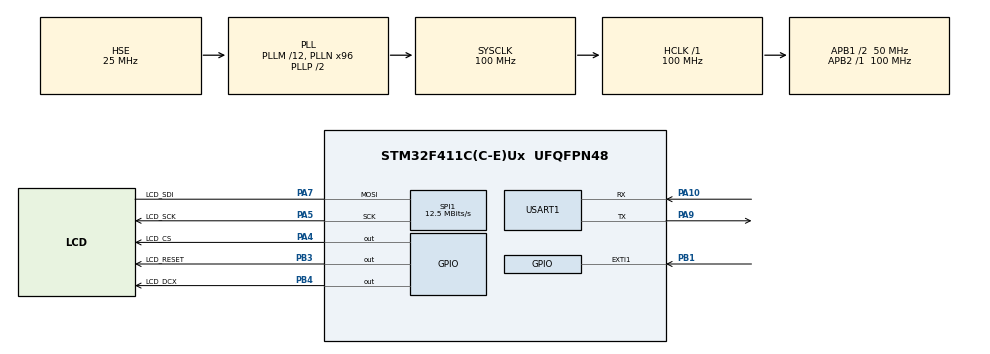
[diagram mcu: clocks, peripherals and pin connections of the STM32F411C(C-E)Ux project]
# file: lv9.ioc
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Dma.Request0=SPI1_TX
Dma.SPI1_TX.0.Direction=DMA_MEMORY_TO_PERIPH
Dma.SPI1_TX.0.FIFOMode=DMA_FIFOMODE_DISABLE
Dma.SPI1_TX.0.Instance=DMA2_Stream2
Dma.SPI1_TX.0.MemDataAlignment=DMA_MDATAALIGN_HALFWORD
Dma.SPI1_TX.0.MemInc=DMA_MINC_ENABLE
Dma.SPI1_TX.0.Mode=DMA_NORMAL
Dma.SPI1_TX.0.PeriphDataAlignment=DMA_PDATAALIGN_HALFWORD
Dma.SPI1_TX.0.PeriphInc=DMA_PINC_DISABLE
Dma.SPI1_TX.0.Priority=DMA_PRIORITY_MEDIUM
FREERTOS.Tasks01=defaultTask,0,128,StartDefaultTask,Default,NULL,Dynamic,NULL,NULL
FREERTOS.configUSE_NEWLIB_REENTRANT=1
Mcu.Family=STM32F4
Mcu.Name=STM32F411C(C-E)Ux
Mcu.Package=UFQFPN48
NVIC.DMA2_Stream2_IRQn=true\:5\:0\:false\:false\:true\:true\:false\:true\:true
NVIC.EXTI1_IRQn=true\:5\:0\:false\:false\:true\:true\:true\:true\:true
NVIC.PriorityGroup=NVIC_PRIORITYGROUP_4
NVIC.TIM2_IRQn=true\:15\:0\:false\:false\:true\:false\:false\:true\:true
NVIC.TimeBase=TIM2_IRQn
NVIC.TimeBaseIP=TIM2
PA10.Mode=Asynchronous
PA10.Signal=USART1_RX
PA13.Mode=Serial_Wire
PA13.Signal=SYS_JTMS-SWDIO
PA14.Mode=Serial_Wire
PA14.Signal=SYS_JTCK-SWCLK
PA4.GPIO_Label=LCD_CS
PA4.GPIO_Speed=GPIO_SPEED_FREQ_VERY_HIGH
PA4.Signal=GPIO_Output
PA5.GPIO_Label=LCD_SCK
PA5.GPIO_PuPd=GPIO_PULLDOWN
PA5.Mode=Simplex_Bidirectional_Master
PA5.Signal=SPI1_SCK
PA7.GPIO_Label=LCD_SDI
PA7.GPIO_PuPd=GPIO_PULLUP
PA7.Mode=Simplex_Bidirectional_Master
PA7.Signal=SPI1_MOSI
PA9.Mode=Asynchronous
PA9.Signal=USART1_TX
PB1.Signal=GPXTI1
PB3.GPIO_Label=LCD_RESET
PB3.GPIO_PuPd=GPIO_PULLUP
PB3.GPIO_Speed=GPIO_SPEED_FREQ_VERY_HIGH
PB3.PinState=GPIO_PIN_SET
PB3.Signal=GPIO_Output
PB4.GPIO_Label=LCD_DCX
PB4.GPIO_Speed=GPIO_SPEED_FREQ_VERY_HIGH
PB4.PinState=GPIO_PIN_SET
PB4.Signal=GPIO_Output
PC14-OSC32_IN.Mode=LSE-External-Oscillator
PC14-OSC32_IN.Signal=RCC_OSC32_IN
PC15-OSC32_OUT.Mode=LSE-External-Oscillator
PC15-OSC32_OUT.Signal=RCC_OSC32_OUT
PH0\ -\ OSC_IN.Mode=HSE-External-Oscillator
PH0\ -\ OSC_IN.Signal=RCC_OSC_IN
PH1\ -\ OSC_OUT.Mode=HSE-External-Oscillator
PH1\ -\ OSC_OUT.Signal=RCC_OSC_OUT
ProjectManager.HeapSize=0x200
ProjectManager.StackSize=0x400
ProjectManager.TargetToolchain=STM32CubeIDE
RCC.48MHZClocksFreq_Value=50000000
RCC.AHBFreq_Value=100000000
RCC.APB1CLKDivider=RCC_HCLK_DIV2
RCC.APB1Freq_Value=50000000
RCC.APB1TimFreq_Value=100000000
RCC.APB2Freq_Value=100000000
RCC.APB2TimFreq_Value=100000000
RCC.CortexFreq_Value=100000000
RCC.HCLKFreq_Value=100000000
RCC.HSE_VALUE=25000000
RCC.HSI_VALUE=16000000
RCC.PLLM=12
RCC.PLLN=96
RCC.PLLSourceVirtual=RCC_PLLSOURCE_HSE
RCC.SYSCLKFreq_VALUE=100000000
RCC.SYSCLKSource=RCC_SYSCLKSOURCE_PLLCLK
RCC.VCOOutputFreq_Value=200000000
SPI1.BaudRatePrescaler=SPI_BAUDRATEPRESCALER_8
SPI1.CalculateBaudRate=12.5 MBits/s
SPI1.Direction=SPI_DIRECTION_1LINE
SPI1.Mode=SPI_MODE_MASTER
SPI1.VirtualType=VM_MASTER
USART1.VirtualMode=VM_ASYNC
VP_FREERTOS_VS_CMSIS_V1.Mode=CMSIS_V1
VP_SYS_VS_tim2.Mode=TIM2
board=custom

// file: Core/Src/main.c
/* USER CODE BEGIN Header */
/**
  ******************************************************************************
  * @file           : main.c
  * @brief          : Main program body
  ******************************************************************************
  * @attention
  *
  * Copyright (c) 2024 STMicroelectronics.
  * All rights reserved.
  *
  * This software is licensed under terms that can be found in the LICENSE file
  * in the root directory of this software component.
  * If no LICENSE file comes with this software, it is provided AS-IS.
  *
  ******************************************************************************
  */
/* USER CODE END Header */
#include "main.h"
#include "cmsis_os.h"

/* USER CODE BEGIN Includes */
#include "lvgl.h"
#include "./src/drivers/display/st7735/lv_st7735.h"
#include <stdio.h>
/* USER CODE END Includes */

/* USER CODE BEGIN PD */
#define LCD_H_RES       128
#define LCD_V_RES       128
#define BUS_SPI1_POLL_TIMEOUT 0x1000U
/* USER CODE END PD */

SPI_HandleTypeDef hspi1;
DMA_HandleTypeDef hdma_spi1_tx;

UART_HandleTypeDef huart1;

osThreadId defaultTaskHandle;
/* USER CODE BEGIN PV */
osThreadId LvglTaskHandle;
lv_display_t *lcd_disp;
volatile int lcd_bus_busy = 0;
/* USER CODE END PV */

void SystemClock_Config(void);
static void MX_GPIO_Init(void);
static void MX_DMA_Init(void);
static void MX_SPI1_Init(void);
static void MX_USART1_UART_Init(void);
void StartDefaultTask(void const * argument);

/* USER CODE BEGIN PFP */
void ui_init(lv_display_t *disp);
void LVGL_Task(void const *argument);
/* USER CODE END PFP */

/* USER CODE BEGIN 0 */
int _write(int file, char *ptr, int len) {
    HAL_UART_Transmit(&huart1, (uint8_t*) ptr, len, HAL_MAX_DELAY);
    return len;
}
/* USER CODE END 0 */

int main(void)
{

  /* MCU Configuration--------------------------------------------------------*/

  /* Reset of all peripherals, Initializes the Flash interface and the Systick. */
  HAL_Init();

  /* Configure the system clock */
  SystemClock_Config();

  /* Initialize all configured peripherals */
  MX_GPIO_Init();
  MX_DMA_Init();
  MX_SPI1_Init();
  MX_USART1_UART_Init();

  /* Create the thread(s) */
  /* definition and creation of defaultTask */
  osThreadDef(defaultTask, StartDefaultTask, osPriorityNormal, 0, 128);
  defaultTaskHandle = osThreadCreate(osThread(defaultTask), NULL);

  /* USER CODE BEGIN RTOS_THREADS */
  /* add threads, ... */
  osThreadDef(LvglTask, LVGL_Task, osPriorityIdle, 0, 1024);
  LvglTaskHandle = osThreadCreate(osThread(LvglTask), NULL);
  /* USER CODE END RTOS_THREADS */

  /* Start scheduler */
  osKernelStart();

  /* We should never get here as control is now taken by the scheduler */

  /* Infinite loop */
  while (1)
  {

  }
}

void SystemClock_Config(void)
{
  RCC_OscInitTypeDef RCC_OscInitStruct = {0};
  RCC_ClkInitTypeDef RCC_ClkInitStruct = {0};

  /** Configure the main internal regulator output voltage
  */
  __HAL_RCC_PWR_CLK_ENABLE();
  __HAL_PWR_VOLTAGESCALING_CONFIG(PWR_REGULATOR_VOLTAGE_SCALE1);

  /** Initializes the RCC Oscillators according to the specified parameters
  * in the RCC_OscInitTypeDef structure.
  */
  RCC_OscInitStruct.OscillatorType = RCC_OSCILLATORTYPE_HSE;
  RCC_OscInitStruct.HSEState = RCC_HSE_ON;
  RCC_OscInitStruct.PLL.PLLState = RCC_PLL_ON;
  RCC_OscInitStruct.PLL.PLLSource = RCC_PLLSOURCE_HSE;
  RCC_OscInitStruct.PLL.PLLM = 12;
  RCC_OscInitStruct.PLL.PLLN = 96;
  RCC_OscInitStruct.PLL.PLLP = RCC_PLLP_DIV2;
  RCC_OscInitStruct.PLL.PLLQ = 4;
  if (HAL_RCC_OscConfig(&RCC_OscInitStruct) != HAL_OK)
  {
    Error_Handler();
  }

  /** Initializes the CPU, AHB and APB buses clocks
  */
  RCC_ClkInitStruct.ClockType = RCC_CLOCKTYPE_HCLK|RCC_CLOCKTYPE_SYSCLK
                              |RCC_CLOCKTYPE_PCLK1|RCC_CLOCKTYPE_PCLK2;
  RCC_ClkInitStruct.SYSCLKSource = RCC_SYSCLKSOURCE_PLLCLK;
  RCC_ClkInitStruct.AHBCLKDivider = RCC_SYSCLK_DIV1;
  RCC_ClkInitStruct.APB1CLKDivider = RCC_HCLK_DIV2;
  RCC_ClkInitStruct.APB2CLKDivider = RCC_HCLK_DIV1;

  if (HAL_RCC_ClockConfig(&RCC_ClkInitStruct, FLASH_LATENCY_3) != HAL_OK)
  {
    Error_Handler();
  }
}

static void MX_SPI1_Init(void)
{

  /* SPI1 parameter configuration*/
  hspi1.Instance = SPI1;
  hspi1.Init.Mode = SPI_MODE_MASTER;
  hspi1.Init.Direction = SPI_DIRECTION_1LINE;
  hspi1.Init.DataSize = SPI_DATASIZE_8BIT;
  hspi1.Init.CLKPolarity = SPI_POLARITY_LOW;
  hspi1.Init.CLKPhase = SPI_PHASE_1EDGE;
  hspi1.Init.NSS = SPI_NSS_SOFT;
  hspi1.Init.BaudRatePrescaler = SPI_BAUDRATEPRESCALER_8;
  hspi1.Init.FirstBit = SPI_FIRSTBIT_MSB;
  hspi1.Init.TIMode = SPI_TIMODE_DISABLE;
  hspi1.Init.CRCCalculation = SPI_CRCCALCULATION_DISABLE;
  hspi1.Init.CRCPolynomial = 10;
  if (HAL_SPI_Init(&hspi1) != HAL_OK)
  {
    Error_Handler();
  }

}

static void MX_USART1_UART_Init(void)
{

  huart1.Instance = USART1;
  huart1.Init.BaudRate = 115200;
  huart1.Init.WordLength = UART_WORDLENGTH_8B;
  huart1.Init.StopBits = UART_STOPBITS_1;
  huart1.Init.Parity = UART_PARITY_NONE;
  huart1.Init.Mode = UART_MODE_TX_RX;
  huart1.Init.HwFlowCtl = UART_HWCONTROL_NONE;
  huart1.Init.OverSampling = UART_OVERSAMPLING_16;
  if (HAL_UART_Init(&huart1) != HAL_OK)
  {
    Error_Handler();
  }

}

static void MX_DMA_Init(void)
{

  /* DMA controller clock enable */
  __HAL_RCC_DMA2_CLK_ENABLE();

  /* DMA interrupt init */
  /* DMA2_Stream2_IRQn interrupt configuration */
  HAL_NVIC_SetPriority(DMA2_Stream2_IRQn, 5, 0);
  HAL_NVIC_EnableIRQ(DMA2_Stream2_IRQn);

}

static void MX_GPIO_Init(void)
{
  GPIO_InitTypeDef GPIO_InitStruct = {0};

  /* GPIO Ports Clock Enable */
  __HAL_RCC_GPIOC_CLK_ENABLE();
  __HAL_RCC_GPIOH_CLK_ENABLE();
  __HAL_RCC_GPIOA_CLK_ENABLE();
  __HAL_RCC_GPIOB_CLK_ENABLE();

  /*Configure GPIO pin Output Level */
  HAL_GPIO_WritePin(LCD_CS_GPIO_Port, LCD_CS_Pin, GPIO_PIN_RESET);

  /*Configure GPIO pin Output Level */
  HAL_GPIO_WritePin(GPIOB, LCD_RESET_Pin|LCD_DCX_Pin, GPIO_PIN_SET);

  /*Configure GPIO pin : LCD_CS_Pin */
  GPIO_InitStruct.Pin = LCD_CS_Pin;
  GPIO_InitStruct.Mode = GPIO_MODE_OUTPUT_PP;
  GPIO_InitStruct.Pull = GPIO_NOPULL;
  GPIO_InitStruct.Speed = GPIO_SPEED_FREQ_VERY_HIGH;
  HAL_GPIO_Init(LCD_CS_GPIO_Port, &GPIO_InitStruct);

  /*Configure GPIO pin : PB1 */
  GPIO_InitStruct.Pin = GPIO_PIN_1;
  GPIO_InitStruct.Mode = GPIO_MODE_IT_RISING;
  GPIO_InitStruct.Pull = GPIO_NOPULL;
  HAL_GPIO_Init(GPIOB, &GPIO_InitStruct);

  /*Configure GPIO pin : LCD_RESET_Pin */
  GPIO_InitStruct.Pin = LCD_RESET_Pin;
  GPIO_InitStruct.Mode = GPIO_MODE_OUTPUT_PP;
  GPIO_InitStruct.Pull = GPIO_PULLUP;
  GPIO_InitStruct.Speed = GPIO_SPEED_FREQ_VERY_HIGH;
  HAL_GPIO_Init(LCD_RESET_GPIO_Port, &GPIO_InitStruct);

  /*Configure GPIO pin : LCD_DCX_Pin */
  GPIO_InitStruct.Pin = LCD_DCX_Pin;
  GPIO_InitStruct.Mode = GPIO_MODE_OUTPUT_PP;
  GPIO_InitStruct.Pull = GPIO_NOPULL;
  GPIO_InitStruct.Speed = GPIO_SPEED_FREQ_VERY_HIGH;
  HAL_GPIO_Init(LCD_DCX_GPIO_Port, &GPIO_InitStruct);

  /* EXTI interrupt init*/
  HAL_NVIC_SetPriority(EXTI1_IRQn, 5, 0);
  HAL_NVIC_EnableIRQ(EXTI1_IRQn);

}

/* USER CODE BEGIN 4 */
void lcd_color_transfer_ready_cb(SPI_HandleTypeDef *hspi)
{
        /* CS high */
        HAL_GPIO_WritePin(LCD_CS_GPIO_Port, LCD_CS_Pin, GPIO_PIN_SET);
        lcd_bus_busy = 0;
        lv_display_flush_ready(lcd_disp);
}

/* Initialize LCD I/O bus, reset LCD */
static int32_t lcd_io_init(void)
{
        /* Register SPI Tx Complete Callback */
        HAL_SPI_RegisterCallback(&hspi1, HAL_SPI_TX_COMPLETE_CB_ID, lcd_color_transfer_ready_cb);

        /* reset LCD */
        HAL_GPIO_WritePin(LCD_RESET_GPIO_Port, LCD_RESET_Pin, GPIO_PIN_RESET);
        HAL_Delay(100);
        HAL_GPIO_WritePin(LCD_RESET_GPIO_Port, LCD_RESET_Pin, GPIO_PIN_SET);
        HAL_Delay(100);

        HAL_GPIO_WritePin(LCD_CS_GPIO_Port, LCD_CS_Pin, GPIO_PIN_SET);
        HAL_GPIO_WritePin(LCD_DCX_GPIO_Port, LCD_DCX_Pin, GPIO_PIN_SET);

        return HAL_OK;
}

/* Platform-specific implementation of the LCD send command function. In general this should use polling transfer. */
static void lcd_send_cmd(lv_display_t *disp, const uint8_t *cmd, size_t cmd_size, const uint8_t *param, size_t param_size)
{
        LV_UNUSED(disp);
        while (lcd_bus_busy);   /* wait until previous transfer is finished */
        /* Set the SPI in 8-bit mode */
        hspi1.Init.DataSize = SPI_DATASIZE_8BIT;
        HAL_SPI_Init(&hspi1);
        /* DCX low (command) */
        HAL_GPIO_WritePin(LCD_DCX_GPIO_Port, LCD_DCX_Pin, GPIO_PIN_RESET);
        /* CS low */
        HAL_GPIO_WritePin(LCD_CS_GPIO_Port, LCD_CS_Pin, GPIO_PIN_RESET);
        /* send command */
        if (HAL_SPI_Transmit(&hspi1, cmd, cmd_size, BUS_SPI1_POLL_TIMEOUT) == HAL_OK) {
                /* DCX high (data) */
                HAL_GPIO_WritePin(LCD_DCX_GPIO_Port, LCD_DCX_Pin, GPIO_PIN_SET);
                /* for short data blocks we use polling transfer */
                HAL_SPI_Transmit(&hspi1, (uint8_t *)param, (uint16_t)param_size, BUS_SPI1_POLL_TIMEOUT);
                /* CS high */
                HAL_GPIO_WritePin(LCD_CS_GPIO_Port, LCD_CS_Pin, GPIO_PIN_SET);
        }
}

/* Platform-specific implementation of the LCD send color function. For better performance this should use DMA transfer.
 * In case of a DMA transfer a callback must be installed to notify LVGL about the end of the transfer.
 */
static void lcd_send_color(lv_display_t *disp, const uint8_t *cmd, size_t cmd_size, uint8_t *param, size_t param_size)
{
        LV_UNUSED(disp);
        while (lcd_bus_busy);   /* wait until previous transfer is finished */
        /* Set the SPI in 8-bit mode */
        hspi1.Init.DataSize = SPI_DATASIZE_8BIT;
        HAL_SPI_Init(&hspi1);
        /* DCX low (command) */
        HAL_GPIO_WritePin(LCD_DCX_GPIO_Port, LCD_DCX_Pin, GPIO_PIN_RESET);
        /* CS low */
        HAL_GPIO_WritePin(LCD_CS_GPIO_Port, LCD_CS_Pin, GPIO_PIN_RESET);
        /* send command */
        if (HAL_SPI_Transmit(&hspi1, cmd, cmd_size, BUS_SPI1_POLL_TIMEOUT) == HAL_OK) {
                /* DCX high (data) */
                HAL_GPIO_WritePin(LCD_DCX_GPIO_Port, LCD_DCX_Pin, GPIO_PIN_SET);
                /* for color data use DMA transfer */
                /* Set the SPI in 16-bit mode to match endianness */
                hspi1.Init.DataSize = SPI_DATASIZE_16BIT;
                HAL_SPI_Init(&hspi1);
                lcd_bus_busy = 1;
                HAL_SPI_Transmit_DMA(&hspi1, param, (uint16_t)param_size / 2);
                /* NOTE: CS will be reset in the transfer ready callback */
        }
}

void LVGL_Task(void const *argument)
{
        /* Initialize LVGL */
        lv_init();

        /* Initialize LCD I/O */
        if (lcd_io_init() != 0)
                return;

        /* Create the LVGL display object and the LCD display driver */
        lcd_disp = lv_st7735_create(LCD_H_RES, LCD_V_RES, LV_LCD_FLAG_NONE, lcd_send_cmd, lcd_send_color);
        lv_display_set_rotation(lcd_disp, LV_DISPLAY_ROTATION_0);
        lv_display_set_offset(lcd_disp, 2, 3);

        /* Allocate draw buffers on the heap. In this example we use two partial buffers of 1/10th size of the screen */
        lv_color_t * buf1 = NULL;
        lv_color_t * buf2 = NULL;

        uint32_t buf_size = LCD_H_RES * LCD_V_RES / 10 * lv_color_format_get_size(lv_display_get_color_format(lcd_disp));

        buf1 = lv_malloc(buf_size);
        if(buf1 == NULL) {
                LV_LOG_ERROR("display draw buffer malloc failed");
                return;
        }

        buf2 = lv_malloc(buf_size);
        if(buf2 == NULL) {
                LV_LOG_ERROR("display buffer malloc failed");
                lv_free(buf1);
                return;
        }
        lv_display_set_buffers(lcd_disp, buf1, buf2, buf_size, LV_DISPLAY_RENDER_MODE_PARTIAL);

        ui_init(lcd_disp);

        for(;;) {
                /* The task running lv_timer_handler should have lower priority than that running `lv_tick_inc` */
                lv_timer_handler();
                /* raise the task priority of LVGL and/or reduce the handler period can improve the performance */
                osDelay(10);
        }
}
// Define the coordinates that the buttons will interact with
static const lv_point_t btn_points[] = { {64, 5}, {70, 90} };
void button_read(lv_indev_t *indev, lv_indev_data_t *data);

// Screen objects
lv_obj_t *screen1;
lv_obj_t *screen2;
lv_obj_t *screen3;
lv_obj_t *screen4;
lv_obj_t *btn;

lv_obj_t *screens[4]; // Array of screen pointers

// Simulate reading a button press
void input_device_init(void) {
    lv_indev_t *indev = lv_indev_create();
    lv_indev_set_type(indev, LV_INDEV_TYPE_BUTTON);
    lv_indev_set_read_cb(indev, button_read);
}

uint8_t flag = 0;
// Simulate reading a button press
int my_btn_read(void) {
    // Implement your button reading logic here
    // Return the button ID (0, 1, 2, ...) if pressed, or -1 if no button is pressed
    if (flag == 1) {
    	flag = 0;
    	return 0;
    } // Button 0 is pressed
    //if (HAL_GPIO_ReadPin(GPIOA, GPIO_PIN_1) == GPIO_PIN_SET) return 1; // Button 1 is pressed
    return -1; // No button is pressed
}

// Function to switch screens
void switch_screen(lv_obj_t *new_screen) {
    lv_screen_load(new_screen);
}

uint8_t i = 0;
// Read the button state
void button_read(lv_indev_t *indev, lv_indev_data_t *data) {
    static uint32_t last_btn = 0;   // Store the last pressed button
    int btn_pr = my_btn_read();     // Get the ID of the pressed button

    if (btn_pr >= 0) {              // Check if a button is pressed
        last_btn = btn_pr;          // Save the ID of the pressed button
        data->state = LV_INDEV_STATE_PRESSED;
        printf("Button %d is pressed\r\n", last_btn);

        // Switch screens based on button press
        if (last_btn == 0) {
            // Load the next screen in the array
            switch_screen(screens[i]);
            i = (i + 1) % 4; // Update the index, loop back to 0 after 3
        }
    } else {
        data->state = LV_INDEV_STATE_RELEASED;
    }

    data->btn_id = last_btn;        // Set the last button ID
}

// Initialize the UI
void ui_init(lv_display_t *disp) {
    input_device_init();

    // Create screen 1
    screen1 = lv_obj_create(NULL);
    lv_obj_t *label1 = lv_label_create(screen1);
    lv_label_set_text(label1, "This is Screen 1");
    lv_obj_align(label1, LV_ALIGN_CENTER, 0, 0);

    // Create screen 2
    screen2 = lv_obj_create(NULL);
    lv_obj_t *label2 = lv_label_create(screen2);
    lv_label_set_text(label2, "This is Screen 2");
    lv_obj_align(label2, LV_ALIGN_CENTER, 0, 0);

    // Create screen 3
	screen3 = lv_obj_create(NULL);
	lv_obj_t *label3 = lv_label_create(screen3);
	lv_label_set_text(label3, "This is Screen 3");
	lv_obj_align(label3, LV_ALIGN_CENTER, 0, 0);

	// Create screen 4
	screen4 = lv_obj_create(NULL);
	lv_obj_t *label4 = lv_label_create(screen4);
	lv_label_set_text(label4, "This is Screen 4");
	lv_obj_align(label4, LV_ALIGN_CENTER, 0, 0);

	screens[0] = screen1;
	screens[1] = screen2;
	screens[2] = screen3;
	screens[3] = screen4;
    // Load the initial screen
    lv_screen_load(screen1);

    // Modified animation example code
    lv_example_anim_2();
}

void HAL_GPIO_EXTI_Callback(uint16_t GPIO_Pin) {
    if (GPIO_Pin == GPIO_PIN_1) {
        flag = 1;
    }
}
/* USER CODE END 4 */

void StartDefaultTask(void const * argument)
{
  for(;;)
  {
    osDelay(1);
  }
}

void HAL_TIM_PeriodElapsedCallback(TIM_HandleTypeDef *htim)
{
  if (htim->Instance == TIM2) {
    HAL_IncTick();
  }
}

void Error_Handler(void)
{
  __disable_irq();
  while (1)
  {
  }
}
